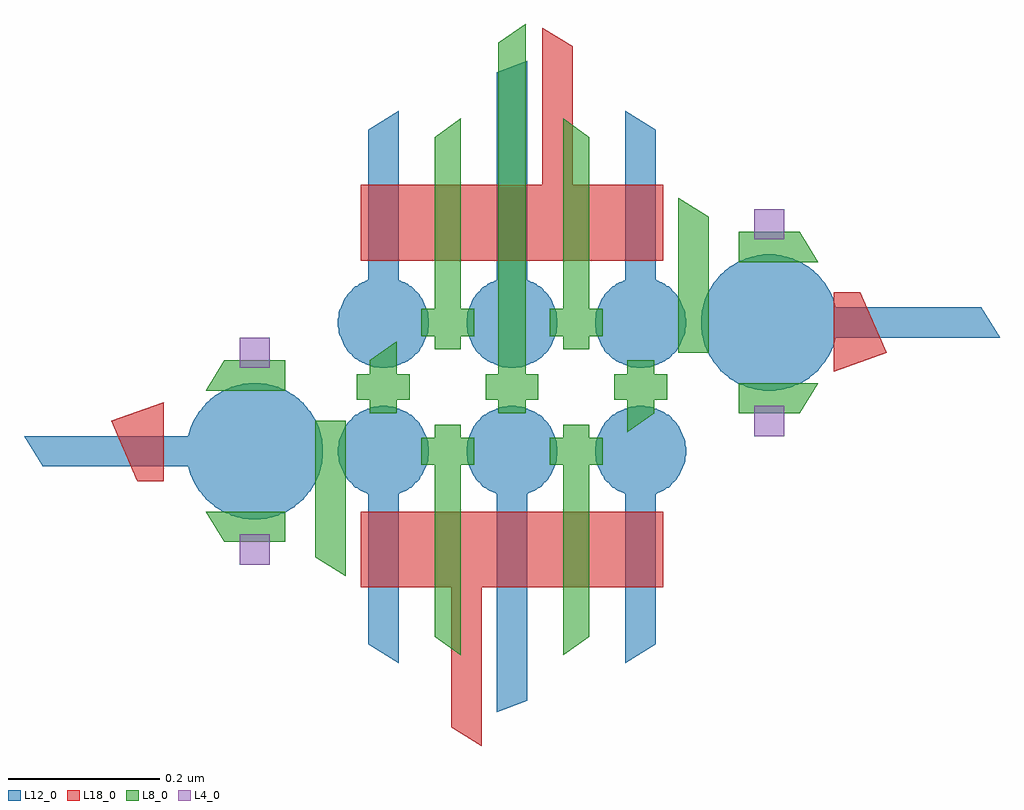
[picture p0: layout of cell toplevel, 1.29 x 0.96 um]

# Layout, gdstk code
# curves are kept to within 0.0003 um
import gdstk
lib = gdstk.Library(unit=1e-6, precision=1e-09)
def R(c, l, rs):  # rectangles x0, y0, x1, y1
    for r in rs: c.add(gdstk.rectangle(r[:2], r[2:], *l))
def P(c, l, *ps):  # polygons
    for p in ps: c.add(gdstk.Polygon(p, *l))
L4_0 = (4, 0)
L8_0 = (8, 0)
L12_0 = (12, 0)
L18_0 = (18, 0)

toplevel = lib.new_cell('toplevel')
R(toplevel, L4_0, [(-0.19,-0.15,-0.15,-0.11), (0.49,0.02,0.53,0.06), (-0.19,0.11,-0.15,0.15), (0.49,0.28,0.53,0.32)])
P(toplevel, L8_0, [(0.135,0.102),(0.135,0.068),(0.152,0.068),(0.152,0.05),(0.188,0.05),(0.188,0.068),(0.205,0.068),(0.205,0.102),(0.188,0.102),(0.188,0.565),(0.152,0.54),(0.152,0.102)],
  [(0.22,0.188),(0.22,0.152),(0.238,0.152),(0.238,0.135),(0.272,0.135),(0.272,0.152),(0.29,0.152),(0.29,0.188),(0.272,0.188),(0.272,0.415),(0.238,0.44),(0.238,0.188)],
  [(0.05,0.188),(0.05,0.152),(0.068,0.152),(0.068,0.135),(0.102,0.135),(0.102,0.152),(0.12,0.152),(0.12,0.188),(0.102,0.188),(0.102,0.44),(0.068,0.415),(0.068,0.188)],
  [(0.43,0.13),(0.43,0.31),(0.39,0.335),(0.39,0.13)],
  [(0.47,0.25),(0.575,0.25),(0.55,0.29),(0.47,0.29)],
  [(-0.035,0.102),(-0.035,0.068),(-0.018,0.068),(-0.018,0.05),(0.018,0.05),(0.018,0.068),(0.035,0.068),(0.035,0.102),(0.018,0.102),(0.018,0.145),(-0.018,0.12),(-0.018,0.102)],
  [(0.358,0.05),(0.358,0.068),(0.375,0.068),(0.375,0.102),(0.358,0.102),(0.358,0.12),(0.322,0.12),(0.322,0.102),(0.305,0.102),(0.305,0.068),(0.322,0.068),(0.322,0.025)],
  [(-0.13,0.08),(-0.13,0.12),(-0.21,0.12),(-0.235,0.08)],
  [(0.47,0.05),(0.55,0.05),(0.575,0.09),(0.47,0.09)],
  [(-0.05,0.04),(-0.09,0.04),(-0.09,-0.14),(-0.05,-0.165)],
  [(0.102,-0.27),(0.102,-0.018),(0.12,-0.018),(0.12,0.018),(0.102,0.018),(0.102,0.035),(0.068,0.035),(0.068,0.018),(0.05,0.018),(0.05,-0.018),(0.068,-0.018),(0.068,-0.245)],
  [(0.272,-0.245),(0.272,-0.018),(0.29,-0.018),(0.29,0.018),(0.272,0.018),(0.272,0.035),(0.238,0.035),(0.238,0.018),(0.22,0.018),(0.22,-0.018),(0.238,-0.018),(0.238,-0.27)],
  [(-0.21,-0.12),(-0.13,-0.12),(-0.13,-0.08),(-0.235,-0.08)])
P(toplevel, L12_0, [(0.149,0.226),(0.142,0.223),(0.138,0.221),(0.136,0.219),(0.133,0.218),(0.129,0.214),(0.128,0.212),(0.126,0.211),(0.122,0.207),(0.121,0.204),(0.119,0.202),(0.117,0.198),(0.111,0.183),(0.111,0.178),(0.11,0.175),(0.11,0.165),(0.111,0.162),(0.111,0.157),(0.112,0.154),(0.117,0.142),(0.119,0.138),(0.121,0.136),(0.122,0.133),(0.126,0.129),(0.128,0.128),(0.129,0.126),(0.133,0.122),(0.136,0.121),(0.138,0.119),(0.142,0.117),(0.157,0.111),(0.162,0.111),(0.165,0.11),(0.175,0.11),(0.178,0.111),(0.183,0.111),(0.186,0.112),(0.198,0.117),(0.202,0.119),(0.204,0.121),(0.207,0.122),(0.211,0.126),(0.212,0.128),(0.214,0.129),(0.218,0.133),(0.219,0.136),(0.221,0.138),(0.223,0.142),(0.229,0.157),(0.229,0.162),(0.23,0.165),(0.23,0.175),(0.229,0.178),(0.229,0.183),(0.226,0.191),(0.221,0.202),(0.219,0.204),(0.218,0.207),(0.214,0.211),(0.212,0.212),(0.211,0.214),(0.207,0.218),(0.204,0.219),(0.202,0.221),(0.195,0.224),(0.191,0.226),(0.19,0.227),(0.19,0.516),(0.15,0.501),(0.15,0.227)],
  [(0.319,0.226),(0.312,0.223),(0.308,0.221),(0.306,0.219),(0.303,0.218),(0.299,0.214),(0.298,0.212),(0.296,0.211),(0.292,0.207),(0.291,0.204),(0.289,0.202),(0.287,0.198),(0.281,0.183),(0.281,0.178),(0.28,0.175),(0.28,0.165),(0.281,0.162),(0.281,0.157),(0.282,0.154),(0.287,0.142),(0.289,0.138),(0.291,0.136),(0.292,0.133),(0.296,0.129),(0.298,0.128),(0.299,0.126),(0.303,0.122),(0.306,0.121),(0.308,0.119),(0.312,0.117),(0.324,0.112),(0.327,0.111),(0.332,0.111),(0.335,0.11),(0.345,0.11),(0.348,0.111),(0.353,0.111),(0.368,0.117),(0.372,0.119),(0.374,0.121),(0.377,0.122),(0.381,0.126),(0.382,0.128),(0.384,0.129),(0.388,0.133),(0.389,0.136),(0.391,0.138),(0.393,0.142),(0.398,0.154),(0.399,0.157),(0.399,0.162),(0.4,0.165),(0.4,0.175),(0.399,0.178),(0.399,0.183),(0.393,0.198),(0.391,0.202),(0.389,0.204),(0.388,0.207),(0.384,0.211),(0.382,0.212),(0.381,0.214),(0.377,0.218),(0.374,0.219),(0.372,0.221),(0.365,0.224),(0.361,0.226),(0.36,0.227),(0.36,0.425),(0.32,0.45),(0.32,0.227)],
  [(-0.021,0.226),(-0.028,0.223),(-0.032,0.221),(-0.034,0.219),(-0.037,0.218),(-0.041,0.214),(-0.042,0.212),(-0.044,0.211),(-0.048,0.207),(-0.049,0.204),(-0.051,0.202),(-0.053,0.198),(-0.059,0.183),(-0.059,0.178),(-0.06,0.175),(-0.06,0.165),(-0.059,0.162),(-0.059,0.157),(-0.058,0.154),(-0.053,0.142),(-0.051,0.138),(-0.049,0.136),(-0.048,0.133),(-0.044,0.129),(-0.042,0.128),(-0.041,0.126),(-0.037,0.122),(-0.034,0.121),(-0.032,0.119),(-0.028,0.117),(-0.013,0.111),(-0.008,0.111),(-0.005,0.11),(0.005,0.11),(0.008,0.111),(0.013,0.111),(0.016,0.112),(0.028,0.117),(0.032,0.119),(0.034,0.121),(0.037,0.122),(0.041,0.126),(0.042,0.128),(0.044,0.129),(0.048,0.133),(0.049,0.136),(0.051,0.138),(0.053,0.142),(0.059,0.157),(0.059,0.162),(0.06,0.165),(0.06,0.175),(0.059,0.178),(0.059,0.183),(0.056,0.191),(0.051,0.202),(0.049,0.204),(0.048,0.207),(0.044,0.211),(0.042,0.212),(0.041,0.214),(0.037,0.218),(0.034,0.219),(0.032,0.221),(0.025,0.224),(0.021,0.226),(0.02,0.227),(0.02,0.45),(-0.02,0.425),(-0.02,0.227)],
  [(0.79,0.19),(0.598,0.19),(0.595,0.201),(0.593,0.204),(0.592,0.208),(0.584,0.222),(0.581,0.225),(0.574,0.234),(0.571,0.236),(0.562,0.244),(0.558,0.246),(0.552,0.25),(0.548,0.252),(0.544,0.253),(0.541,0.255),(0.526,0.259),(0.522,0.259),(0.518,0.26),(0.502,0.26),(0.498,0.259),(0.494,0.259),(0.479,0.255),(0.476,0.253),(0.472,0.252),(0.458,0.244),(0.455,0.241),(0.446,0.234),(0.444,0.231),(0.436,0.222),(0.434,0.218),(0.43,0.212),(0.428,0.208),(0.427,0.204),(0.425,0.201),(0.421,0.186),(0.421,0.182),(0.42,0.178),(0.42,0.162),(0.421,0.158),(0.421,0.154),(0.425,0.139),(0.427,0.136),(0.428,0.132),(0.436,0.118),(0.439,0.115),(0.446,0.106),(0.449,0.104),(0.458,0.096),(0.462,0.094),(0.468,0.09),(0.472,0.088),(0.476,0.087),(0.479,0.085),(0.494,0.081),(0.498,0.081),(0.502,0.08),(0.518,0.08),(0.522,0.081),(0.526,0.081),(0.541,0.085),(0.544,0.087),(0.548,0.088),(0.562,0.096),(0.565,0.099),(0.574,0.106),(0.576,0.109),(0.584,0.118),(0.586,0.122),(0.59,0.128),(0.592,0.132),(0.593,0.136),(0.595,0.139),(0.598,0.15),(0.815,0.15)],
  [(-0.45,-0.02),(-0.258,-0.02),(-0.255,-0.031),(-0.253,-0.034),(-0.252,-0.038),(-0.244,-0.052),(-0.241,-0.055),(-0.234,-0.064),(-0.231,-0.066),(-0.222,-0.074),(-0.218,-0.076),(-0.212,-0.08),(-0.208,-0.082),(-0.204,-0.083),(-0.201,-0.085),(-0.186,-0.089),(-0.182,-0.089),(-0.178,-0.09),(-0.162,-0.09),(-0.158,-0.089),(-0.154,-0.089),(-0.139,-0.085),(-0.136,-0.083),(-0.132,-0.082),(-0.118,-0.074),(-0.115,-0.071),(-0.106,-0.064),(-0.104,-0.061),(-0.096,-0.052),(-0.094,-0.048),(-0.09,-0.042),(-0.088,-0.038),(-0.087,-0.034),(-0.085,-0.031),(-0.081,-0.016),(-0.081,-0.012),(-0.08,-0.008),(-0.08,0.008),(-0.081,0.012),(-0.081,0.016),(-0.085,0.031),(-0.087,0.034),(-0.088,0.038),(-0.096,0.052),(-0.099,0.055),(-0.106,0.064),(-0.109,0.066),(-0.118,0.074),(-0.122,0.076),(-0.128,0.08),(-0.132,0.082),(-0.136,0.083),(-0.139,0.085),(-0.154,0.089),(-0.158,0.089),(-0.162,0.09),(-0.178,0.09),(-0.182,0.089),(-0.186,0.089),(-0.201,0.085),(-0.204,0.083),(-0.208,0.082),(-0.222,0.074),(-0.225,0.071),(-0.234,0.064),(-0.236,0.061),(-0.244,0.052),(-0.246,0.048),(-0.25,0.042),(-0.252,0.038),(-0.253,0.034),(-0.255,0.031),(-0.258,0.02),(-0.475,0.02)],
  [(0.02,-0.057),(0.021,-0.056),(0.032,-0.051),(0.034,-0.049),(0.037,-0.048),(0.041,-0.044),(0.042,-0.042),(0.044,-0.041),(0.048,-0.037),(0.049,-0.034),(0.051,-0.032),(0.053,-0.028),(0.059,-0.013),(0.059,-0.008),(0.06,-0.005),(0.06,0.005),(0.059,0.008),(0.059,0.013),(0.058,0.016),(0.053,0.028),(0.051,0.032),(0.049,0.034),(0.048,0.037),(0.044,0.041),(0.042,0.042),(0.041,0.044),(0.037,0.048),(0.034,0.049),(0.032,0.051),(0.028,0.053),(0.016,0.058),(0.013,0.059),(0.008,0.059),(0.005,0.06),(-0.005,0.06),(-0.008,0.059),(-0.013,0.059),(-0.028,0.053),(-0.032,0.051),(-0.034,0.049),(-0.037,0.048),(-0.041,0.044),(-0.042,0.042),(-0.044,0.041),(-0.048,0.037),(-0.049,0.034),(-0.051,0.032),(-0.053,0.028),(-0.058,0.016),(-0.059,0.013),(-0.059,0.008),(-0.06,0.005),(-0.06,-0.005),(-0.059,-0.008),(-0.059,-0.013),(-0.053,-0.028),(-0.051,-0.032),(-0.049,-0.034),(-0.048,-0.037),(-0.044,-0.041),(-0.042,-0.042),(-0.041,-0.044),(-0.037,-0.048),(-0.034,-0.049),(-0.032,-0.051),(-0.025,-0.054),(-0.021,-0.056),(-0.02,-0.057),(-0.02,-0.255),(0.02,-0.28)],
  [(0.19,-0.33),(0.19,-0.057),(0.191,-0.056),(0.202,-0.051),(0.204,-0.049),(0.207,-0.048),(0.211,-0.044),(0.212,-0.042),(0.214,-0.041),(0.218,-0.037),(0.219,-0.034),(0.221,-0.032),(0.223,-0.028),(0.229,-0.013),(0.229,-0.008),(0.23,-0.005),(0.23,0.005),(0.229,0.008),(0.229,0.013),(0.226,0.021),(0.221,0.032),(0.219,0.034),(0.218,0.037),(0.214,0.041),(0.212,0.042),(0.211,0.044),(0.207,0.048),(0.204,0.049),(0.202,0.051),(0.198,0.053),(0.183,0.059),(0.178,0.059),(0.175,0.06),(0.165,0.06),(0.162,0.059),(0.157,0.059),(0.149,0.056),(0.138,0.051),(0.136,0.049),(0.133,0.048),(0.129,0.044),(0.128,0.042),(0.126,0.041),(0.122,0.037),(0.121,0.034),(0.119,0.032),(0.117,0.028),(0.111,0.013),(0.111,0.008),(0.11,0.005),(0.11,-0.005),(0.111,-0.008),(0.111,-0.013),(0.112,-0.016),(0.117,-0.028),(0.119,-0.032),(0.121,-0.034),(0.122,-0.037),(0.126,-0.041),(0.128,-0.042),(0.129,-0.044),(0.133,-0.048),(0.136,-0.049),(0.138,-0.051),(0.145,-0.054),(0.149,-0.056),(0.15,-0.057),(0.15,-0.345)],
  [(0.36,-0.255),(0.36,-0.057),(0.361,-0.056),(0.372,-0.051),(0.374,-0.049),(0.377,-0.048),(0.381,-0.044),(0.382,-0.042),(0.384,-0.041),(0.388,-0.037),(0.389,-0.034),(0.391,-0.032),(0.393,-0.028),(0.399,-0.013),(0.399,-0.008),(0.4,-0.005),(0.4,0.005),(0.399,0.008),(0.399,0.013),(0.396,0.021),(0.391,0.032),(0.389,0.034),(0.388,0.037),(0.384,0.041),(0.382,0.042),(0.381,0.044),(0.377,0.048),(0.374,0.049),(0.372,0.051),(0.368,0.053),(0.353,0.059),(0.348,0.059),(0.345,0.06),(0.335,0.06),(0.332,0.059),(0.327,0.059),(0.319,0.056),(0.308,0.051),(0.306,0.049),(0.303,0.048),(0.299,0.044),(0.298,0.042),(0.296,0.041),(0.292,0.037),(0.291,0.034),(0.289,0.032),(0.287,0.028),(0.281,0.013),(0.281,0.008),(0.28,0.005),(0.28,-0.005),(0.281,-0.008),(0.281,-0.013),(0.282,-0.016),(0.287,-0.028),(0.289,-0.032),(0.291,-0.034),(0.292,-0.037),(0.296,-0.041),(0.298,-0.042),(0.299,-0.044),(0.303,-0.048),(0.306,-0.049),(0.308,-0.051),(0.315,-0.054),(0.319,-0.056),(0.32,-0.057),(0.32,-0.28)])
P(toplevel, L18_0, [(-0.03,0.352),(-0.03,0.252),(0.37,0.252),(0.37,0.352),(0.25,0.352),(0.25,0.535),(0.21,0.56),(0.21,0.352)],
  [(0.665,0.13),(0.63,0.21),(0.595,0.21),(0.595,0.105)],
  [(-0.29,-0.04),(-0.29,0.065),(-0.36,0.04),(-0.325,-0.04)],
  [(0.13,-0.39),(0.13,-0.18),(0.37,-0.18),(0.37,-0.08),(-0.03,-0.08),(-0.03,-0.18),(0.09,-0.18),(0.09,-0.365)])

lib.write_gds('toplevel.gds')
